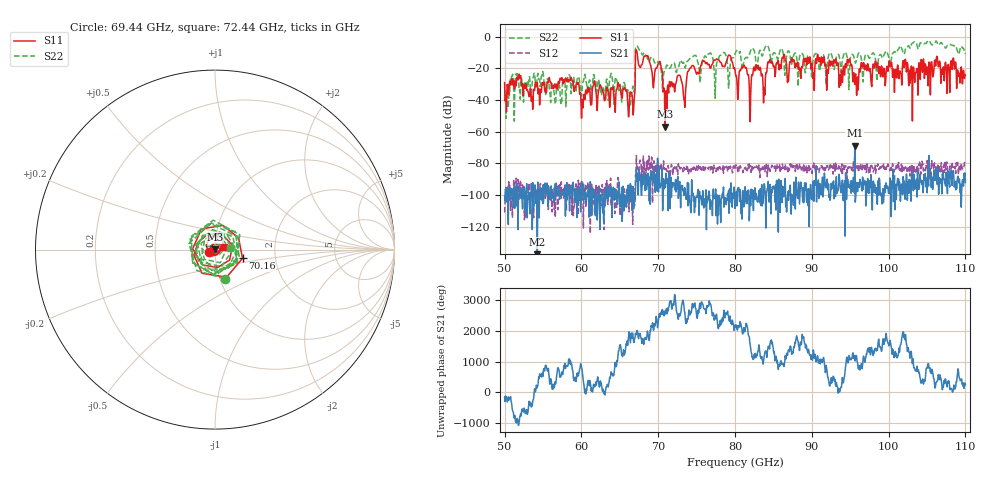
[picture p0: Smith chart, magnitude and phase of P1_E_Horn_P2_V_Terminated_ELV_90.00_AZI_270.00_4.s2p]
! 11/26/2026 10:27:46 AM
! C:\ANRITSUVNA\TEMP\TEMP.S2P
! CHANNEL.1
! TR.MEASUREMENT
! RAW.DATA
# HZ S RI R 50.0
! FREQ.HZ  S11RE  S11IM  S21RE  S21IM  S12RE  S12IM  S22RE  S22IM
!; PortSelection: Port_12
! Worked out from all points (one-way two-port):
!   1001 points, 50 GHz to 110 GHz, reference 50 ohm
!   highest |S21| = -68.81 dB at 95.6 GHz (marker M1); lowest = -140.0 dB at 54.26 GHz (marker M2)
!   lowest |S11| = -56.9 dB at 70.88 GHz (marker M3), VSWR 1.00, Z = 50 + j0.143 ohm
!   |S11| at or under -10 dB: start of sweep to 67.04 GHz; 67.24 GHz to end of sweep
!   |S22| runs from -53.4 to -2.4 dB; largest |S21 - S12| = 0.00057
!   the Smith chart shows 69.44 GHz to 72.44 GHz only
!   S11 on the Smith chart (normalised r, x): 69.44 GHz: 0.93, -0.02; 70.16 GHz: 1.35, -0.13; 72.44 GHz: 1.10, +0.03
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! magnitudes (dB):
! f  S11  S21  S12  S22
! 50 GHz  -29.0  -100.9  -111.1  -34.2
! 54.26 GHz  -29.0  -140.0  -120.7  -25.1
! 58.64 GHz  -25.7  -97.6  -94.3  -36.1
! 60.02 GHz  -51.5  -91.5  -102.1  -37.6
! 66.32 GHz  -36.5  -101.9  -93.9  -42.2
! 67.34 GHz  -14.0  -87.3  -85.3  -6.4
! 69.44 GHz  -28.6  -82.3  -78.4  -15.3
! 70.04 GHz  -17.0  -98.2  -90.8  -15.9
! 70.16 GHz  -15.9  -91.5  -83.6  -18.0
! 70.88 GHz  -56.9  -91.3  -83.6  -21.4
! 72.44 GHz  -26.1  -96.1  -83.8  -21.3
! 73.4 GHz  -39.9  -97.7  -83.2  -17.7
! 76.7 GHz  -18.8  -101.7  -82.4  -10.5
! 77.48 GHz  -14.7  -96.2  -83.5  -27.0
! 78.5 GHz  -18.6  -95.0  -86.3  -10.1
! 79.22 GHz  -11.6  -111.6  -82.1  -28.9
! 80 GHz  -20.8  -108.5  -83.7  -10.9
! 90.02 GHz  -16.7  -97.8  -86.4  -25.5
! 94.88 GHz  -14.1  -94.2  -82.3  -25.4
! 95.6 GHz  -30.1  -68.8  -71.0  -15.1
! 100 GHz  -16.1  -98.8  -82.6  -13.4
! 110 GHz  -24.3  -92.2  -81.5  -11.0
